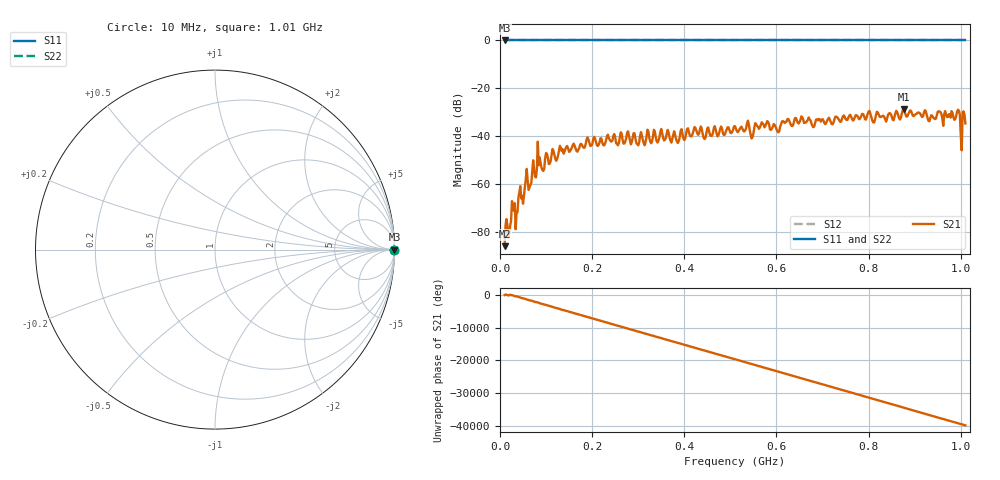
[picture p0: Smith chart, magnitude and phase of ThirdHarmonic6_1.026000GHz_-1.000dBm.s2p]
! 8/16/2025 8:41:29 AM
! C:\ANRITSUVNA\TEMP\TEMP.S2P
! CHANNEL.1
! TR.MEASUREMENT
! RAW.DATA
! RF.CORRECTION.OFF
! AVERAGING.OFF
! IF.BANDWIDTH: 5KHZ
! SWEEPTYPE:  FREQ.SWEEP(Linear)
! Reference Plane Port Info
! PORT:  PORT1  PORT2
! DISTANCE:  0  m  0  m
! TIME:  0  s  0  s
! PHASE.OFFSET:  0  deg.  0  deg.
! LOSS:  0  dB  0  dB
! REF.LOSS:  0  dB  0  dB
! REF.FREQ:  0  Hz  0  Hz
! Power Info
! POWER:  -20  dBm  -20  dBm
! EFF.POWER:  -20  dBm  -20  dBm
! SOURCE.ATTEN:  0  dB  0  dB
! TEST.ATTEN:  0  dB  0  dB
# GHZ S RI R 50.0
! FREQ.GHZ  S11RE  S11IM  S21RE  S21IM  S12RE  S12IM  S22RE  S22IM
!; PortSelection: Port_12
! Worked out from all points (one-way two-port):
!   501 points, 10 MHz to 1.01 GHz, reference 50 ohm
!   highest |S21| = -28.59 dB at 876 MHz (marker M1); lowest = -85.8 dB at 10 MHz (marker M2)
!   lowest |S11| = 0.0 dB at 10 MHz (marker M3)
!   |S11| at or under -10 dB: nowhere
!   |S22| runs from 0.0 to 0.0 dB; largest |S21 - S12| = 1
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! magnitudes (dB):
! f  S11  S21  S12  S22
! 10 MHz  0.0  -85.8  0.0  0.0
! 20 MHz  0.0  -80.9  0.0  0.0
! 28 MHz  0.0  -69.4  0.0  0.0
! 34 MHz  0.0  -78.7  0.0  0.0
! 44 MHz  0.0  -60.8  0.0  0.0
! 58 MHz  0.0  -53.6  0.0  0.0
! 66 MHz  0.0  -60.5  0.0  0.0
! 84 MHz  0.0  -52.0  0.0  0.0
! 92 MHz  0.0  -54.1  0.0  0.0
! 132 MHz  0.0  -44.7  0.0  0.0
! 178 MHz  0.0  -43.6  0.0  0.0
! 344 MHz  0.0  -41.7  0.0  0.0
! 510 MHz  0.0  -35.8  0.0  0.0
! 538 MHz  0.0  -33.5  0.0  0.0
! 546 MHz  0.0  -40.9  0.0  0.0
! 580 MHz  0.0  -33.6  0.0  0.0
! 602 MHz  0.0  -38.0  0.0  0.0
! 624 MHz  0.0  -32.7  0.0  0.0
! 678 MHz  0.0  -35.6  0.0  0.0
! 844 MHz  0.0  -30.4  0.0  0.0
! 876 MHz  0.0  -28.6  0.0  0.0
! 1.01 GHz  0.0  -34.6  0.0  0.0
